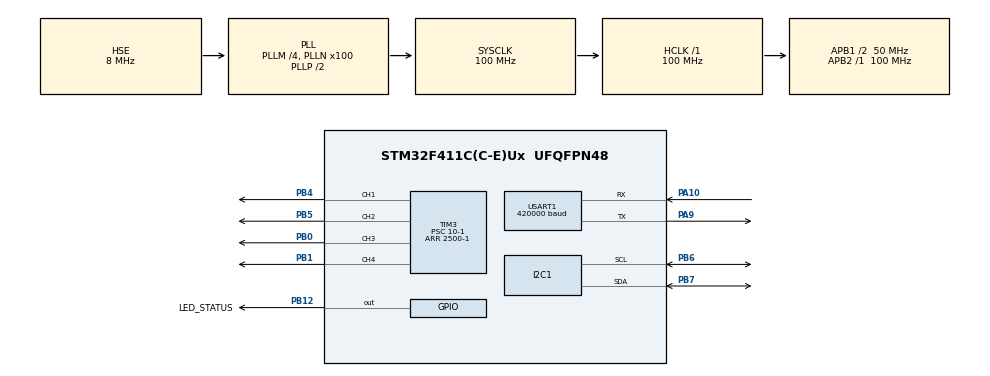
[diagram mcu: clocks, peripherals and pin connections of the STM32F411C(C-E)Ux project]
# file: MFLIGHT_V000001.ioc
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Dma.Request0=USART1_RX
Dma.Request1=USART1_TX
Dma.USART1_RX.0.Direction=DMA_PERIPH_TO_MEMORY
Dma.USART1_RX.0.FIFOMode=DMA_FIFOMODE_DISABLE
Dma.USART1_RX.0.Instance=DMA2_Stream2
Dma.USART1_RX.0.MemDataAlignment=DMA_MDATAALIGN_BYTE
Dma.USART1_RX.0.MemInc=DMA_MINC_ENABLE
Dma.USART1_RX.0.Mode=DMA_NORMAL
Dma.USART1_RX.0.PeriphDataAlignment=DMA_PDATAALIGN_BYTE
Dma.USART1_RX.0.PeriphInc=DMA_PINC_DISABLE
Dma.USART1_RX.0.Priority=DMA_PRIORITY_VERY_HIGH
Dma.USART1_TX.1.Direction=DMA_MEMORY_TO_PERIPH
Dma.USART1_TX.1.FIFOMode=DMA_FIFOMODE_DISABLE
Dma.USART1_TX.1.Instance=DMA2_Stream7
Dma.USART1_TX.1.MemDataAlignment=DMA_MDATAALIGN_BYTE
Dma.USART1_TX.1.MemInc=DMA_MINC_ENABLE
Dma.USART1_TX.1.Mode=DMA_NORMAL
Dma.USART1_TX.1.PeriphDataAlignment=DMA_PDATAALIGN_BYTE
Dma.USART1_TX.1.PeriphInc=DMA_PINC_DISABLE
Dma.USART1_TX.1.Priority=DMA_PRIORITY_VERY_HIGH
I2C1.I2C_Mode=I2C_Fast
Mcu.Family=STM32F4
Mcu.Name=STM32F411C(C-E)Ux
Mcu.Package=UFQFPN48
NVIC.DMA2_Stream2_IRQn=true\:0\:0\:false\:false\:true\:false\:true
NVIC.DMA2_Stream7_IRQn=true\:0\:0\:false\:false\:true\:false\:true
NVIC.I2C1_EV_IRQn=true\:0\:0\:false\:false\:true\:true\:true
NVIC.PriorityGroup=NVIC_PRIORITYGROUP_4
NVIC.USART1_IRQn=true\:0\:0\:false\:false\:true\:true\:true
PA10.Mode=Asynchronous
PA10.Signal=USART1_RX
PA13.Mode=Serial_Wire
PA13.Signal=SYS_JTMS-SWDIO
PA14.Mode=Serial_Wire
PA14.Signal=SYS_JTCK-SWCLK
PA9.Mode=Asynchronous
PA9.Signal=USART1_TX
PB0.Signal=S_TIM3_CH3
PB1.Signal=S_TIM3_CH4
PB12.GPIO_Label=LED_STATUS
PB12.Signal=GPIO_Output
PB4.Signal=S_TIM3_CH1
PB5.Signal=S_TIM3_CH2
PB6.Mode=I2C
PB6.Signal=I2C1_SCL
PB7.Mode=I2C
PB7.Signal=I2C1_SDA
PH0\ -\ OSC_IN.Mode=HSE-External-Oscillator
PH0\ -\ OSC_IN.Signal=RCC_OSC_IN
PH1\ -\ OSC_OUT.Mode=HSE-External-Oscillator
PH1\ -\ OSC_OUT.Signal=RCC_OSC_OUT
ProjectManager.HeapSize=0x200
ProjectManager.StackSize=0x400
ProjectManager.TargetToolchain=STM32CubeIDE
RCC.48MHZClocksFreq_Value=66666666.666666664
RCC.AHBFreq_Value=100000000
RCC.APB1CLKDivider=RCC_HCLK_DIV2
RCC.APB1Freq_Value=50000000
RCC.APB1TimFreq_Value=100000000
RCC.APB2Freq_Value=100000000
RCC.APB2TimFreq_Value=100000000
RCC.CortexFreq_Value=100000000
RCC.HCLKFreq_Value=100000000
RCC.HSE_VALUE=8000000
RCC.HSI_VALUE=16000000
RCC.LSE_VALUE=32768
RCC.PLLM=4
RCC.PLLN=100
RCC.PLLQ=3
RCC.PLLSourceVirtual=RCC_PLLSOURCE_HSE
RCC.SYSCLKFreq_VALUE=100000000
RCC.SYSCLKSource=RCC_SYSCLKSOURCE_PLLCLK
RCC.VCOOutputFreq_Value=200000000
SH.S_TIM3_CH1.0=TIM3_CH1,PWM Generation1 CH1
SH.S_TIM3_CH2.0=TIM3_CH2,PWM Generation2 CH2
SH.S_TIM3_CH3.0=TIM3_CH3,PWM Generation3 CH3
SH.S_TIM3_CH4.0=TIM3_CH4,PWM Generation4 CH4
TIM3.Channel-PWM\ Generation1\ CH1=TIM_CHANNEL_1
TIM3.Channel-PWM\ Generation2\ CH2=TIM_CHANNEL_2
TIM3.Channel-PWM\ Generation3\ CH3=TIM_CHANNEL_3
TIM3.Channel-PWM\ Generation4\ CH4=TIM_CHANNEL_4
TIM3.Period=2500-1
TIM3.Prescaler=10-1
TIM9.Prescaler=100-1
USART1.BaudRate=420000
USART1.VirtualMode=VM_ASYNC
VP_TIM3_VS_ClockSourceINT.Mode=Internal
VP_TIM9_VS_ClockSourceINT.Mode=Internal
board=custom

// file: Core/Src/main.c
/* USER CODE BEGIN Header */
/**
  ******************************************************************************
  * @file           : main.c
  * @brief          : Main program body
  ******************************************************************************
  * @attention
  *
  * <h2><center>&copy; Copyright (c) 2021 STMicroelectronics.
  * All rights reserved.</center></h2>
  *
  * This software component is licensed by ST under BSD 3-Clause license,
  * the "License"; You may not use this file except in compliance with the
  * License. You may obtain a copy of the License at:
  *                        opensource.org/licenses/BSD-3-Clause
  *
  ******************************************************************************
  */
/* USER CODE END Header */
#include "main.h"

/* USER CODE BEGIN Includes */
//#include "usbd_cdc_if.h"
#include "MPU6050.h"
#include "filter.h"
#include "stdbool.h"
#include "map.h"
/* USER CODE END Includes */

/* USER CODE BEGIN PD */

// pid constants
#define Kp_x 0.0f
#define Kp_y 0.0f
#define Kp_z 0.0f
#define Ki_x 0.0f
#define Ki_y 0.0f
#define Ki_z 0.0f
#define Kd_x 0.0f
#define Kd_y 0.0f
#define Kd_z 0.0f
/* USER CODE END PD */

I2C_HandleTypeDef hi2c1;

TIM_HandleTypeDef htim3;
TIM_HandleTypeDef htim9;

UART_HandleTypeDef huart1;
DMA_HandleTypeDef hdma_usart1_rx;
DMA_HandleTypeDef hdma_usart1_tx;

/* USER CODE BEGIN PV */
MPU6050 gyro;
filter gyroX_filter;
filter gyroY_filter;
filter gyroZ_filter;
filter d_termX_filter;
filter d_termY_filter;
filter d_termZ_filter;
filter rc_roll;
filter rc_pitch;
filter rc_yaw;
filter rc_throttle;
filter rc_arm;
filter rc_prearm;

bool arm_ok = 0;
bool first_arm = 1;
bool failsafe = 1;
/* USER CODE END PV */

void SystemClock_Config(void);
static void MX_GPIO_Init(void);
static void MX_DMA_Init(void);
static void MX_I2C1_Init(void);
static void MX_USART1_UART_Init(void);
static void MX_TIM3_Init(void);
static void MX_TIM9_Init(void);
/* USER CODE BEGIN PFP */
#include "string.h"
/* USER CODE END PFP */

/* USER CODE BEGIN 0 */

// micros delay function
uint16_t time_since_loop_start;
void delay_micros(uint16_t delay){
	__HAL_TIM_SET_COUNTER(&htim9, 0);
	while(__HAL_TIM_GET_COUNTER(&htim9) < delay);
}

#define RxBuf_SIZE 26
#define Main_Buf_SIZE 26

uint8_t RxBuf[RxBuf_SIZE];
uint8_t MainBuf[Main_Buf_SIZE];

void HAL_UARTEx_RxEventCallback(UART_HandleTypeDef *huart, uint16_t Size){

	if (huart->Instance == USART1){
		memcpy (MainBuf, RxBuf, RxBuf_SIZE);
		 HAL_UARTEx_ReceiveToIdle_DMA(&huart1, RxBuf, RxBuf_SIZE);
		 __HAL_DMA_DISABLE_IT(&hdma_usart1_rx, DMA_IT_HT);
	}
}

// receiver IT test
//void HAL_UART_RxCpltCallback(UART_HandleTypeDef *huart){
	//    HAL_UART_Receive_IT(&huart1, RxBuf, RxBuf_SIZE);
		//memcpy (MainBuf, RxBuf, RxBuf_SIZE);

//}
/* USER CODE END 0 */

int main(void)
{
  /* USER CODE BEGIN 1 */
	filter_init(&gyroX_filter, 75.0f, 0.0005f);
	filter_init(&gyroY_filter, 75.0f, 0.0005f);
	filter_init(&gyroZ_filter, 75.0f, 0.0005f);
	filter_init(&rc_roll, 15.0f, 0.0001f);
	filter_init(&rc_pitch, 15.0f, 0.0001f);
	filter_init(&rc_yaw, 15.0f, 0.0001f);
	filter_init(&rc_throttle, 15.0f, 0.0001f);
	filter_init(&rc_arm, 5.0f, 0.0001f);
	filter_init(&rc_prearm, 4.0f, 0.0001f);
	filter_init(&d_termX_filter, 150.0f, 0.0005f);
	filter_init(&d_termY_filter, 150.0f, 0.0005f);
	filter_init(&d_termZ_filter, 150.0f, 0.0005f);
  /* USER CODE END 1 */

  /* MCU Configuration--------------------------------------------------------*/

  /* Reset of all peripherals, Initializes the Flash interface and the Systick. */
  HAL_Init();

  /* Configure the system clock */
  SystemClock_Config();

  /* Initialize all configured peripherals */
  MX_GPIO_Init();
  MX_DMA_Init();
  MX_I2C1_Init();
  MX_USART1_UART_Init();
  MX_TIM3_Init();
  MX_TIM9_Init();
  /* USER CODE BEGIN 2 */

  // test of receive IT
  //HAL_UART_Receive_IT(&huart1, RxBuf, RxBuf_SIZE);

  // timers
   HAL_TIM_PWM_Start(&htim3, TIM_CHANNEL_1);
   HAL_TIM_PWM_Start(&htim3, TIM_CHANNEL_2);
   HAL_TIM_PWM_Start(&htim3, TIM_CHANNEL_3);
   HAL_TIM_PWM_Start(&htim3, TIM_CHANNEL_4);
   HAL_TIM_Base_Start(&htim9);
   // set duty to zero (oneshot125 uses 125us-250us) and the timer setup for 100mhz is 1250-2500
   uint32_t stop_motor = 1250;
   float idle = 1340.0;
   float MAX_MOTOR_OUT = 2500.0;

   HAL_GPIO_TogglePin(LED_STATUS_GPIO_Port, LED_STATUS_Pin); // turn LED on to indicate delay
   HAL_Delay(7000);
   htim3.Instance->CCR1 = stop_motor; // when written zero throttle 125us the ESC makes the final beep
   htim3.Instance->CCR2 = stop_motor;
   htim3.Instance->CCR3 = stop_motor;
   htim3.Instance->CCR4 = stop_motor;
   HAL_GPIO_TogglePin(LED_STATUS_GPIO_Port, LED_STATUS_Pin);
   HAL_Delay(2000);

  // receiver
  HAL_UARTEx_ReceiveToIdle_DMA(&huart1, RxBuf, RxBuf_SIZE);
  __HAL_DMA_DISABLE_IT(&hdma_usart1_rx, DMA_IT_HT);

  char buf[16];
  uint16_t prearm = 0;
  uint16_t throttle = 0;
  uint16_t roll = 0;
  uint16_t pitch = 0;
  uint16_t yaw = 0;
  uint16_t beep = 0;
  uint16_t arm = 0;
  uint16_t wheel = 0;
  uint16_t time_passed = 0;
  float roll_filt = 0;
  float pitch_filt = 0;
  float yaw_filt = 0;
  float throttle_filt = 0;
  float arm_filt = 0;
  float prearm_filt = 0;
  float M1 = 1400.0;
  float M2 = 1400.0;
  float M3 = 1400.0;
  float M4 = 1400.0;
  float roll_PID = 0.0;
  float pitch_PID = 0.0;
  float yaw_PID = 0.0;
  float d_termX = 0.0;
  float d_termY = 0.0;
  float d_termZ = 0.0;
  float I_termX = 0.0;
  float I_termY = 0.0;
  float I_termZ = 0.0;

  float P_termX = 0.0;
  float P_termY = 0.0;
  float P_termZ = 0.0;

  uint8_t counting = 0;

  float D_termX_filtered;
  float D_termY_filtered;
  float D_termZ_filtered;
  float gyroX_filtered_prev;
  float gyroY_filtered_prev;
  float gyroZ_filtered_prev;

  // pid for tuning
  float Kp_X = 0.6f;
  float Kp_Y = 0.6f;
  float Kp_Z = 0.6f;
  float Ki_X = 0.0001f;
  float Ki_Y = 0.0001f;
  float Ki_Z = 0.0001f;
  float Kd_X = 0.001f;
  float Kd_Y = 0.001f;
  float Kd_Z = 0.001f;

  /*
  Kp_X = Kp_x;
  Kp_Y = Kp_y;
  Kp_Z = Kp_z;
  Ki_X = Ki_x;
  Ki_Y = Ki_y;
  Ki_Z = Ki_z;
  Kd_X = Kd_x;
  Kd_Y = Kd_y;
  Kd_Z = Kd_z;
*/

  // receiver end

  // gyro init
  uint8_t IMU_check;
  IMU_check = MPU6050_initialise(&gyro, &hi2c1);
  if (IMU_check == 0){
  HAL_GPIO_TogglePin(LED_STATUS_GPIO_Port, LED_STATUS_Pin);
  HAL_Delay(2000);
  HAL_GPIO_TogglePin(LED_STATUS_GPIO_Port, LED_STATUS_Pin);
  }

  float gyroX;
  float gyroY;
  float gyroZ;

  float gyroOffsetX = 0;
  float gyroOffsetY = 0;
  float gyroOffsetZ = 0;

  uint8_t cnt = 0;
  float offset_cnt = 100;
  while(cnt < offset_cnt){
	  MPU6050_read_gyro(&gyro);
	  gyroOffsetX += ((gyro.gyro_ds[0])/offset_cnt);
	  gyroOffsetY += ((gyro.gyro_ds[1])/offset_cnt);
	  gyroOffsetZ += ((gyro.gyro_ds[2])/offset_cnt);
	  cnt++;
  }

  float gyroX_filtered;
  float gyroY_filtered;
  float gyroZ_filtered;

 // gyro end

// due to rotating receiver packages, skip 10 package as soon as strange data arrives
  uint8_t cnt_bad_data_throttle = 0;
  uint16_t prev_throttle = 0;
  uint8_t cnt_bad_data_roll = 0;
  uint16_t prev_roll = 0;
  uint8_t cnt_bad_data_pitch = 0;
  uint16_t prev_pitch = 0;
  uint8_t cnt_bad_data_yaw = 0;
  uint16_t prev_yaw = 0;
  uint8_t cnt_bad_data_arm = 0;
  uint16_t prev_arm = 0;
  uint8_t cnt_bad_data_prearm = 0;
   uint16_t prev_prearm = 0;
    //HAL_GPIO_TogglePin(LED_STATUS_GPIO_Port, LED_STATUS_Pin);
  /* USER CODE END 2 */

  /* Infinite loop */
  /* USER CODE BEGIN WHILE */
  while (1)
  {
	  HAL_GPIO_WritePin(LED_STATUS_GPIO_Port, LED_STATUS_Pin, GPIO_PIN_RESET);
	  // MOTORS to zero
	   htim3.Instance->CCR1 = stop_motor;
	   htim3.Instance->CCR2 = stop_motor;
	   htim3.Instance->CCR3 = stop_motor;
	   htim3.Instance->CCR4 = stop_motor;

	  /*
	   htim3.Instance->CCR1 = idle;
	   htim3.Instance->CCR2 = idle;
	   htim3.Instance->CCR3 = idle;
	   htim3.Instance->CCR4 = idle;
*/

	  // before arm all ok
	  throttle = ((MainBuf[4] & 0x07) << 8) | MainBuf[3]; // 196-1792
	  prearm = ((MainBuf[11] & 0x03) << 9) | (MainBuf[10] << 1); // > 1000 prearm ok
	  prearm = ((MainBuf[9] & 0x80) >> 7) | prearm;
	  arm = ((MainBuf[9] & 0b01111111) << 4) | ((MainBuf[8] & 0b11110000) >> 4);

	  // due to rotating receiver data
	  if(throttle < 100 && cnt_bad_data_throttle <= 15){
		  cnt_bad_data_throttle++;
		  throttle = prev_throttle;
	  }else{
		  cnt_bad_data_throttle = 0;
		  prev_throttle = throttle;
	  }

	  if(arm < 100 && cnt_bad_data_arm <= 20){
			  cnt_bad_data_arm++;
			  arm = prev_arm;
		  }else{
			  cnt_bad_data_arm = 0;
			  prev_arm = arm;
		  }

	  if(prearm < 100 && cnt_bad_data_prearm <= 20){
			  cnt_bad_data_arm++;
			  prearm = prev_prearm;
		  }else{
			  cnt_bad_data_prearm = 0;
			  prev_prearm = prearm;
		  }
	  // filter rc commands

	  throttle_filt = filter_apply(&rc_throttle, (float) throttle);
	  arm_filt = filter_apply(&rc_arm, (float) arm);
	  prearm_filt = filter_apply(&rc_prearm, (float) prearm);

	  // throttle 196-1792
	  if (throttle < 1800 && throttle > 100){ // check actual value for failsafe
		  failsafe = 0;
	  } else failsafe = 1;

	  if (IMU_check == 0 && throttle < 300  && prearm > 500 && arm < 500 && (failsafe == 0)){
		  arm_ok = 1;
	  }

	  // check if gyro is not calibrated correctly upon first arm
	  if (first_arm){
		  first_arm = 0;
		  MPU6050_read_gyro(&gyro);
		  gyroX = gyro.gyro_ds[0] - gyroOffsetX;
		  gyroY = gyro.gyro_ds[1] - gyroOffsetY;
		  gyroZ = gyro.gyro_ds[2] - gyroOffsetZ;
		 if (gyroX > 4 || gyroY > 4 || gyroZ > 4){
			 arm_ok = 0;
		 }
	  }

      //arm_ok = 1; // for test
	  // flying loop
	  while(arm_ok) {
		  counting++;
	  HAL_GPIO_WritePin(LED_STATUS_GPIO_Port, LED_STATUS_Pin, GPIO_PIN_SET);
	  __HAL_TIM_SET_COUNTER(&htim9, 0); // use tim9 for time-control (loop time)

	  //time_since_loop_start = __HAL_TIM_GET_COUNTER(&htim9);
	  // RC COMMANDS
	  arm = ((MainBuf[9] & 0b01111111) << 4) | ((MainBuf[8] & 0b11110000) >> 4); // if < 1000 = armed
	  throttle = ((MainBuf[4] & 0x07) << 8) | MainBuf[3]; // 196-1792
	  pitch = ((MainBuf[7] & 0x01) << 10) | (MainBuf[6] << 2);
	  pitch = ((MainBuf[5] & 0xC0) >> 6) | pitch;
	  yaw = ((MainBuf[8] & 0x0F) << 7) | ((MainBuf[7] & 0b11111110) >> 1);
	  roll = ((MainBuf[5] & 0x3F) << 5) | ((MainBuf[4] & 0xF8) >> 3); // 192-1792

	  // due to rotating receiver data
	 	  if(throttle < 100 && cnt_bad_data_throttle <= 15){
	 		  cnt_bad_data_throttle++;
	 		  throttle = prev_throttle;
	 	  }else{
	 		  cnt_bad_data_throttle = 0;
	 		  prev_throttle = throttle;
	 	  }

	 	  if(((roll-prev_roll < -300)||(roll-prev_roll > 300)) && cnt_bad_data_roll <= 15){
	 			  cnt_bad_data_roll++;
	 			  roll = prev_roll;
	 		  }else{
	 			  cnt_bad_data_roll = 0;
	 			  prev_roll = roll;
	 		  }

	 	  if(pitch < 170 && cnt_bad_data_pitch <= 15){
	 			  cnt_bad_data_pitch++;
	 			  pitch = prev_pitch;
	 		  }else{
	 			  cnt_bad_data_pitch = 0;
	 			  prev_pitch = pitch;
	 		  }

	 	  if(((yaw-prev_yaw < -300)||(yaw-prev_yaw > 300)) && cnt_bad_data_yaw <= 15){
	 			  cnt_bad_data_yaw++;
	 			  yaw = prev_yaw;
	 		  }else{
	 			  cnt_bad_data_yaw = 0;
	 			  prev_yaw = yaw;
	 		  }

	 	  if(arm < 100 && cnt_bad_data_arm <= 30){
	 			  cnt_bad_data_arm++;
	 			  arm = prev_arm;
	 		  }else{
	 			  cnt_bad_data_arm = 0;
	 			  prev_arm = arm;
	 		  }

	  // filter rc commands
	  roll_filt = filter_apply(&rc_roll, (float) roll); // this is wrong values, prior to filter
	  pitch_filt = filter_apply(&rc_pitch, (float) pitch);
	  yaw_filt = filter_apply(&rc_yaw, (float) yaw);
	  throttle_filt = filter_apply(&rc_throttle, (float) throttle);
	  arm_filt = filter_apply(&rc_arm, (float) arm);

	  // check if disarm, check failsafe // check value
		  if (arm_filt > 600){
			 arm_ok = 0;
		  }

		  if (throttle < 100 || throttle > 1800){
			  failsafe = 1;
			  arm_ok = 0;
		  }

	  // MAP and CONSTRAIN RC_COMMANDS
		  roll_filt = constrain(roll_filt, 206.0, 1776.0);
		  pitch_filt = constrain(pitch_filt, 194.0, 1790.0);
		  yaw_filt =  constrain(yaw_filt, 198.0, 1768.0);
		  throttle_filt = constrain(throttle_filt, 191.0, 1788.0);
		  roll_filt = map(roll_filt, -1000.0, 1000.0, 206.0, 1776.0);
		  pitch_filt = map(pitch_filt, -1000.0, 1000.0, 194.0, 1790.0);
		  yaw_filt =  map(yaw_filt, -1000.0, 1000.0, 198.0, 1768.0);
		  throttle_filt = map(throttle_filt, 1250.0, 2500.0, 191.0, 1788.0);
		  throttle_filt = constrain(throttle_filt, idle, 2000.0);

	  // GYRO READ
      MPU6050_read_gyro(&gyro);
	  gyroX = gyro.gyro_ds[0] - gyroOffsetX;
	  gyroY = gyro.gyro_ds[1] - gyroOffsetY;
	  gyroZ = gyro.gyro_ds[2] - gyroOffsetZ;

	  // filters
	  gyroX_filtered = filter_apply(&gyroX_filter, gyroX);
	  gyroY_filtered = filter_apply(&gyroY_filter, gyroY);
	  gyroZ_filtered = filter_apply(&gyroZ_filter, gyroZ);

	  // PID

	  // compute proportional term
	  P_termX = - pitch_filt - gyroX_filtered;
	  P_termY =   roll_filt -  gyroY_filtered;
	  P_termZ =  - yaw_filt -  gyroZ_filtered;

	  // compute derivative term
	  d_termX = gyroX_filtered - gyroX_filtered_prev;
	  d_termY = gyroY_filtered - gyroY_filtered_prev;
	  d_termZ = gyroZ_filtered - gyroZ_filtered_prev;

	  // filter derivative term
	  D_termX_filtered = filter_apply(&d_termX_filter, d_termX);
	  D_termY_filtered = filter_apply(&d_termY_filter, d_termY);
	  D_termZ_filtered = filter_apply(&d_termZ_filter, d_termZ);

	  // shift
	  gyroX_filtered_prev = gyroX_filtered;
	  gyroY_filtered_prev = gyroY_filtered;
	  gyroZ_filtered_prev = gyroZ_filtered;

	  // compute I term
	  I_termX = I_termX + P_termX * 0.0005;
	  I_termY = I_termY + P_termY * 0.0005;
	  I_termZ = I_termZ + P_termZ * 0.0005;

	  // constrain I term
	  if (I_termX > 100.0){
		  I_termX = 100.0;
	  }
	  if (I_termX < -100.0){
		  I_termX = -100.0;
	  }
	  if (I_termY > 100.0){
		  I_termY = 100.0;
	  }
	  if (I_termY < -100.0){
		  I_termY = -100.0;
	  }
	  if (I_termZ > 100.0){
		  I_termZ = 100.0;
	  }
	  if (I_termZ < -100.0){
		  I_termZ = -100.0;
	  }

	  // compute pids
	  roll_PID  = Kp_Y * P_termY + Ki_Y * I_termY - Kd_Y * D_termY_filtered;
	  pitch_PID = Kp_X * P_termX + Ki_X * I_termX - Kd_X * D_termX_filtered;
	  yaw_PID   = Kp_Z * P_termZ + Ki_Z * I_termZ;// - Kd_Z * D_termZ_filtered;

	  //time_since_loop_start = __HAL_TIM_GET_COUNTER(&htim9);

	  // MIXER
	   M1 = throttle_filt + pitch_PID + roll_PID + yaw_PID;
	   M2 = throttle_filt + pitch_PID - roll_PID - yaw_PID;
	   M3 = throttle_filt - pitch_PID - roll_PID + yaw_PID;
	   M4 = throttle_filt - pitch_PID + roll_PID - yaw_PID;
/*
	   if (M1 < idle || M2 < idle || M3 < idle || M4 < idle){
		   Kp_X = 0.8*Kp_X;
		   Kp_Y = 0.8*Kp_Y;
		   Kp_Z = 0.8*Kp_Z;
		   Ki_X = 0.8*Ki_X;
		   Ki_Y = 0.8*Ki_Y;
		   Ki_Z = 0.8*Ki_Z;
		   Kd_X = 0.8*Kd_X;
		   Kd_Y = 0.8*Kd_Y;
		   Kd_Z = 0.8*Kd_Z;
	 	   }else{
			   Kp_X = Kp_x;
			   Kp_Y = Kp_y;
			   Kp_Z = Kp_z;
			   Ki_X = Ki_x;
			   Ki_Y = Ki_y;
			   Ki_Z = Ki_z;
			   Kd_X = Kd_x;
			   Kd_Y = Kd_y;
			   Kd_Z = Kd_z;
	 	   }
	   if (M1 < MAX_MOTOR_OUT || M2 < MAX_MOTOR_OUT || M3 < MAX_MOTOR_OUT || M4 < MAX_MOTOR_OUT){
		   Kp_X = 0.8*Kp_X;
		   Kp_Y = 0.8*Kp_Y;
		   Kp_Z = 0.8*Kp_Z;
		   Ki_X = 0.8*Ki_X;
		   Ki_Y = 0.8*Ki_Y;
		   Ki_Z = 0.8*Ki_Z;
		   Kd_X = 0.8*Kd_X;
		   Kd_Y = 0.8*Kd_Y;
		   Kd_Z = 0.8*Kd_Z;
	 	   }else{
			   Kp_X = Kp_x;
			   Kp_Y = Kp_y;
			   Kp_Z = Kp_z;
			   Ki_X = Ki_x;
			   Ki_Y = Ki_y;
			   Ki_Z = Ki_z;
			   Kd_X = Kd_x;
			   Kd_Y = Kd_y;
			   Kd_Z = Kd_z;
	 	   }
	  // compute pids
	  roll_PID  = Kp_Y * P_termY + Ki_Y * I_termY - Kd_Y * D_termY_filtered;
	  pitch_PID = Kp_X * P_termX + Ki_X * I_termX - Kd_X * D_termX_filtered;
	  yaw_PID   = Kp_Z * P_termZ + Ki_Z * I_termZ - Kd_Z * D_termZ_filtered;

	  // MIXER
	   M1 = throttle_filt + pitch_PID + roll_PID + yaw_PID;
	   M2 = throttle_filt + pitch_PID - roll_PID - yaw_PID;
	   M3 = throttle_filt - pitch_PID - roll_PID + yaw_PID;
	   M4 = throttle_filt - pitch_PID + roll_PID - yaw_PID;
*/
	M1 = constrain(M1, idle, 2500.0);
	M2 = constrain(M2, idle, 2500.0);
	M3 = constrain(M3, idle, 2500.0);
	M4 = constrain(M4, idle, 2500.0);

			  // MOTOR OUTPUT
	//M1 = throttle_filt;
	// M1 -> M3
	//M2 -> M2
	// M3 -> M4
	//
	   //htim3.Instance->CCR1 = M4; //M1
	   //htim3.Instance->CCR2 = M1; //M3
	   //htim3.Instance->CCR3 = M2; //M2
	   //htim3.Instance->CCR4 = M3; //M4

	   htim3.Instance->CCR1 = M2;//M2;
	   htim3.Instance->CCR2 = M3;//M3;
	   htim3.Instance->CCR3 = M1;//M1;
	   htim3.Instance->CCR4 = M4;//M4;

	/*
	   htim3.Instance->CCR1 = idle;
	   htim3.Instance->CCR2 = idle;
	   htim3.Instance->CCR3 = idle;
	   htim3.Instance->CCR4 = idle;
 */

	   	  // for debuging usb
	      //sprintf(buf, "%.2f\r\n", roll_PID);
		  //CDC_Transmit_FS((uint8_t *) buf, strlen(buf));

	   // TIME-CONTROL
	  time_since_loop_start = __HAL_TIM_GET_COUNTER(&htim9); // one cnt == 1 micros
	  time_passed = time_since_loop_start;
	  if (time_since_loop_start < 500){
		  delay_micros(500 - time_since_loop_start);
	  }
    /* USER CODE END WHILE */

  }
  }
}

void SystemClock_Config(void)
{
  RCC_OscInitTypeDef RCC_OscInitStruct = {0};
  RCC_ClkInitTypeDef RCC_ClkInitStruct = {0};

  /** Configure the main internal regulator output voltage
  */
  __HAL_RCC_PWR_CLK_ENABLE();
  __HAL_PWR_VOLTAGESCALING_CONFIG(PWR_REGULATOR_VOLTAGE_SCALE1);
  /** Initializes the RCC Oscillators according to the specified parameters
  * in the RCC_OscInitTypeDef structure.
  */
  RCC_OscInitStruct.OscillatorType = RCC_OSCILLATORTYPE_HSE;
  RCC_OscInitStruct.HSEState = RCC_HSE_ON;
  RCC_OscInitStruct.PLL.PLLState = RCC_PLL_ON;
  RCC_OscInitStruct.PLL.PLLSource = RCC_PLLSOURCE_HSE;
  RCC_OscInitStruct.PLL.PLLM = 4;
  RCC_OscInitStruct.PLL.PLLN = 100;
  RCC_OscInitStruct.PLL.PLLP = RCC_PLLP_DIV2;
  RCC_OscInitStruct.PLL.PLLQ = 3;
  if (HAL_RCC_OscConfig(&RCC_OscInitStruct) != HAL_OK)
  {
    Error_Handler();
  }
  /** Initializes the CPU, AHB and APB buses clocks
  */
  RCC_ClkInitStruct.ClockType = RCC_CLOCKTYPE_HCLK|RCC_CLOCKTYPE_SYSCLK
                              |RCC_CLOCKTYPE_PCLK1|RCC_CLOCKTYPE_PCLK2;
  RCC_ClkInitStruct.SYSCLKSource = RCC_SYSCLKSOURCE_PLLCLK;
  RCC_ClkInitStruct.AHBCLKDivider = RCC_SYSCLK_DIV1;
  RCC_ClkInitStruct.APB1CLKDivider = RCC_HCLK_DIV2;
  RCC_ClkInitStruct.APB2CLKDivider = RCC_HCLK_DIV1;

  if (HAL_RCC_ClockConfig(&RCC_ClkInitStruct, FLASH_LATENCY_3) != HAL_OK)
  {
    Error_Handler();
  }
}

static void MX_I2C1_Init(void)
{

  hi2c1.Instance = I2C1;
  hi2c1.Init.ClockSpeed = 400000;
  hi2c1.Init.DutyCycle = I2C_DUTYCYCLE_2;
  hi2c1.Init.OwnAddress1 = 0;
  hi2c1.Init.AddressingMode = I2C_ADDRESSINGMODE_7BIT;
  hi2c1.Init.DualAddressMode = I2C_DUALADDRESS_DISABLE;
  hi2c1.Init.OwnAddress2 = 0;
  hi2c1.Init.GeneralCallMode = I2C_GENERALCALL_DISABLE;
  hi2c1.Init.NoStretchMode = I2C_NOSTRETCH_DISABLE;
  if (HAL_I2C_Init(&hi2c1) != HAL_OK)
  {
    Error_Handler();
  }

}

static void MX_TIM3_Init(void)
{

  TIM_ClockConfigTypeDef sClockSourceConfig = {0};
  TIM_MasterConfigTypeDef sMasterConfig = {0};
  TIM_OC_InitTypeDef sConfigOC = {0};

  htim3.Instance = TIM3;
  htim3.Init.Prescaler = 10-1;
  htim3.Init.CounterMode = TIM_COUNTERMODE_UP;
  htim3.Init.Period = 2500-1;
  htim3.Init.ClockDivision = TIM_CLOCKDIVISION_DIV1;
  htim3.Init.AutoReloadPreload = TIM_AUTORELOAD_PRELOAD_DISABLE;
  if (HAL_TIM_Base_Init(&htim3) != HAL_OK)
  {
    Error_Handler();
  }
  sClockSourceConfig.ClockSource = TIM_CLOCKSOURCE_INTERNAL;
  if (HAL_TIM_ConfigClockSource(&htim3, &sClockSourceConfig) != HAL_OK)
  {
    Error_Handler();
  }
  if (HAL_TIM_PWM_Init(&htim3) != HAL_OK)
  {
    Error_Handler();
  }
  sMasterConfig.MasterOutputTrigger = TIM_TRGO_RESET;
  sMasterConfig.MasterSlaveMode = TIM_MASTERSLAVEMODE_DISABLE;
  if (HAL_TIMEx_MasterConfigSynchronization(&htim3, &sMasterConfig) != HAL_OK)
  {
    Error_Handler();
  }
  sConfigOC.OCMode = TIM_OCMODE_PWM1;
  sConfigOC.Pulse = 0;
  sConfigOC.OCPolarity = TIM_OCPOLARITY_HIGH;
  sConfigOC.OCFastMode = TIM_OCFAST_DISABLE;
  if (HAL_TIM_PWM_ConfigChannel(&htim3, &sConfigOC, TIM_CHANNEL_1) != HAL_OK)
  {
    Error_Handler();
  }
  if (HAL_TIM_PWM_ConfigChannel(&htim3, &sConfigOC, TIM_CHANNEL_2) != HAL_OK)
  {
    Error_Handler();
  }
  if (HAL_TIM_PWM_ConfigChannel(&htim3, &sConfigOC, TIM_CHANNEL_3) != HAL_OK)
  {
    Error_Handler();
  }
  if (HAL_TIM_PWM_ConfigChannel(&htim3, &sConfigOC, TIM_CHANNEL_4) != HAL_OK)
  {
    Error_Handler();
  }
  HAL_TIM_MspPostInit(&htim3);

}

static void MX_TIM9_Init(void)
{

  TIM_ClockConfigTypeDef sClockSourceConfig = {0};

  htim9.Instance = TIM9;
  htim9.Init.Prescaler = 100-1;
  htim9.Init.CounterMode = TIM_COUNTERMODE_UP;
  htim9.Init.Period = 65535;
  htim9.Init.ClockDivision = TIM_CLOCKDIVISION_DIV1;
  htim9.Init.AutoReloadPreload = TIM_AUTORELOAD_PRELOAD_DISABLE;
  if (HAL_TIM_Base_Init(&htim9) != HAL_OK)
  {
    Error_Handler();
  }
  sClockSourceConfig.ClockSource = TIM_CLOCKSOURCE_INTERNAL;
  if (HAL_TIM_ConfigClockSource(&htim9, &sClockSourceConfig) != HAL_OK)
  {
    Error_Handler();
  }

}

static void MX_USART1_UART_Init(void)
{

  huart1.Instance = USART1;
  huart1.Init.BaudRate = 420000;
  huart1.Init.WordLength = UART_WORDLENGTH_8B;
  huart1.Init.StopBits = UART_STOPBITS_1;
  huart1.Init.Parity = UART_PARITY_NONE;
  huart1.Init.Mode = UART_MODE_TX_RX;
  huart1.Init.HwFlowCtl = UART_HWCONTROL_NONE;
  huart1.Init.OverSampling = UART_OVERSAMPLING_16;
  if (HAL_UART_Init(&huart1) != HAL_OK)
  {
    Error_Handler();
  }

}

static void MX_DMA_Init(void)
{

  /* DMA controller clock enable */
  __HAL_RCC_DMA2_CLK_ENABLE();

  /* DMA interrupt init */
  /* DMA2_Stream2_IRQn interrupt configuration */
  HAL_NVIC_SetPriority(DMA2_Stream2_IRQn, 0, 0);
  HAL_NVIC_EnableIRQ(DMA2_Stream2_IRQn);
  /* DMA2_Stream7_IRQn interrupt configuration */
  HAL_NVIC_SetPriority(DMA2_Stream7_IRQn, 0, 0);
  HAL_NVIC_EnableIRQ(DMA2_Stream7_IRQn);

}

static void MX_GPIO_Init(void)
{
  GPIO_InitTypeDef GPIO_InitStruct = {0};

  /* GPIO Ports Clock Enable */
  __HAL_RCC_GPIOH_CLK_ENABLE();
  __HAL_RCC_GPIOB_CLK_ENABLE();
  __HAL_RCC_GPIOA_CLK_ENABLE();

  /*Configure GPIO pin Output Level */
  HAL_GPIO_WritePin(LED_STATUS_GPIO_Port, LED_STATUS_Pin, GPIO_PIN_RESET);

  /*Configure GPIO pin : LED_STATUS_Pin */
  GPIO_InitStruct.Pin = LED_STATUS_Pin;
  GPIO_InitStruct.Mode = GPIO_MODE_OUTPUT_PP;
  GPIO_InitStruct.Pull = GPIO_NOPULL;
  GPIO_InitStruct.Speed = GPIO_SPEED_FREQ_LOW;
  HAL_GPIO_Init(LED_STATUS_GPIO_Port, &GPIO_InitStruct);

}

void Error_Handler(void)
{
  __disable_irq();
  while (1)
  {
  }
}

/************************ (C) COPYRIGHT STMicroelectronics *****END OF FILE****/
